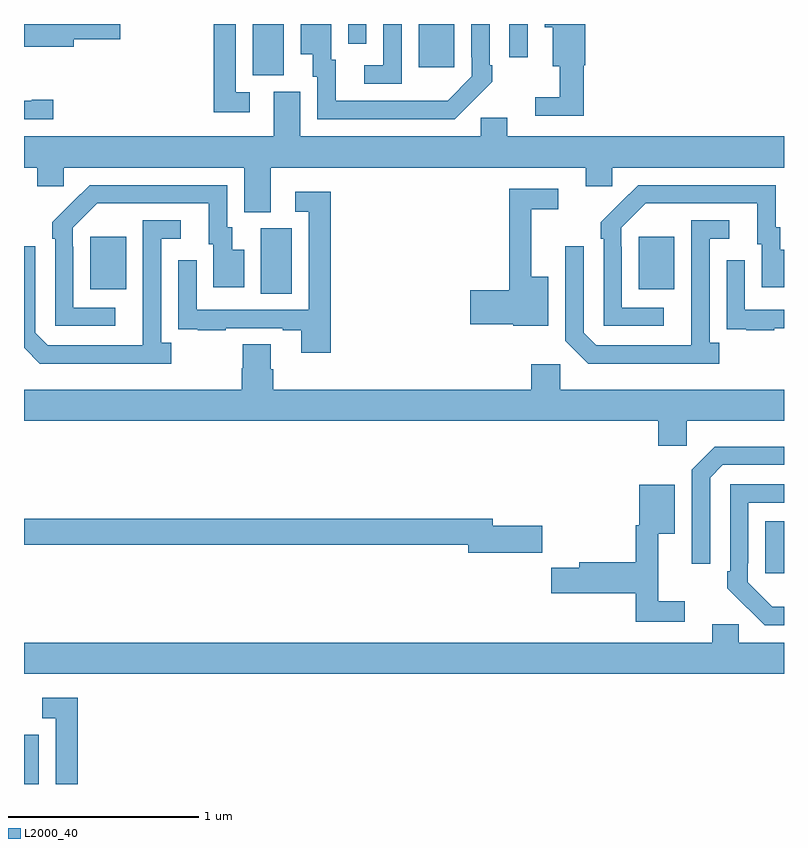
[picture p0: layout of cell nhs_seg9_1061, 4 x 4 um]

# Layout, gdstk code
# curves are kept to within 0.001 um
import gdstk
lib = gdstk.Library(unit=1e-6, precision=1e-09)
def R(c, l, rs):  # rectangles x0, y0, x1, y1
    for r in rs: c.add(gdstk.rectangle(r[:2], r[2:], *l))
def P(c, l, *ps):  # polygons
    for p in ps: c.add(gdstk.Polygon(p, *l))
L2000_40 = (2000, 40)

nhs_seg9_1061 = lib.new_cell('nhs_seg9_1061')
R(nhs_seg9_1061, L2000_40, [(169,1202.5,169.078,1202.76), (172.901,1203.609,173,1203.883), (170.246,1205.08,170.41,1205.424), (169.349,1205.105,169.537,1205.38), (172.235,1205.105,172.423,1205.38), (170.204,1206.229,170.368,1206.5), (171.077,1206.273,171.265,1206.5), (171.555,1206.324,171.651,1206.5), (170.706,1206.396,170.802,1206.5)])
P(nhs_seg9_1061, L2000_40, [(170.188,1206.141),(170.115,1206.141),(170.115,1206.5),(169.999,1206.5),(169.999,1206.036),(170.188,1206.036)],
  [(171.947,1206.282),(171.953,1206.282),(171.953,1206.5),(171.74,1206.5),(171.74,1206.482),(171.782,1206.482),(171.782,1206.278),(171.819,1206.278),(171.819,1206.115),(171.69,1206.115),(171.69,1206.018),(171.947,1206.018)],
  [(169.261,1206.419),(169.507,1206.419),(169.507,1206.5),(169,1206.5),(169,1206.38),(169.261,1206.38)],
  [(171.359,1206.091),(171.36,1206.09),(171.465,1206.195),(171.465,1206.283),(171.45,1206.283),(171.45,1206.5),(171.354,1206.5),(171.354,1206.325),(171.357,1206.325),(171.357,1206.225),(171.229,1206.097),(171.125,1206.096),(170.641,1206.096),(170.641,1206.312),(170.617,1206.312),(170.617,1206.5),(170.456,1206.5),(170.456,1206.341),(170.519,1206.341),(170.519,1206.222),(170.544,1206.222),(170.544,1206),(171.268,1206)],
  [(170.988,1206.5),(170.892,1206.5),(170.892,1206.282),(170.79,1206.282),(170.79,1206.186),(170.988,1206.186)],
  [(169,1205.744),(169.07,1205.744),(169.07,1205.646),(169.209,1205.646),(169.209,1205.744),(170.159,1205.744),(170.159,1205.509),(170.299,1205.509),(170.299,1205.744),(171.956,1205.744),(171.956,1205.646),(172.095,1205.646),(172.095,1205.744),(173,1205.744),(173,1205.908),(171.544,1205.908),(171.544,1206.006),(171.405,1206.006),(171.405,1205.908),(170.455,1205.908),(170.455,1206.144),(170.315,1206.144),(170.315,1205.908),(169,1205.908)],
  [(169.153,1206.101),(169.04,1206.101),(169.04,1206.096),(169,1206.096),(169,1206),(169.153,1206)],
  [(169.48,1205.007),(169.26,1205.007),(169.26,1205.327),(169.257,1205.327),(169.257,1205.427),(169.386,1205.556),(169.973,1205.556),(169.973,1205.34),(169.997,1205.34),(169.997,1205.115),(170.158,1205.115),(170.158,1205.311),(170.095,1205.311),(170.095,1205.43),(170.07,1205.43),(170.07,1205.652),(169.346,1205.652),(169.149,1205.457),(169.149,1205.369),(169.164,1205.369),(169.164,1204.911),(169.48,1204.911)],
  [(172.366,1205.007),(172.146,1205.007),(172.146,1205.327),(172.143,1205.327),(172.143,1205.427),(172.272,1205.556),(172.859,1205.556),(172.859,1205.34),(172.883,1205.34),(172.883,1205.115),(173,1205.115),(173,1205.311),(172.981,1205.311),(172.981,1205.43),(172.956,1205.43),(172.956,1205.652),(172.232,1205.652),(172.035,1205.457),(172.035,1205.369),(172.05,1205.369),(172.05,1204.911),(172.366,1204.911)],
  [(171.76,1205.17),(171.671,1205.17),(171.671,1205.526),(171.811,1205.526),(171.811,1205.634),(171.553,1205.634),(171.553,1205.099),(171.348,1205.099),(171.348,1204.921),(171.576,1204.921),(171.576,1204.913),(171.76,1204.913)],
  [(170.615,1205.617),(170.427,1205.617),(170.427,1205.511),(170.499,1205.511),(170.499,1204.995),(169.908,1204.995),(169.908,1205.257),(169.812,1205.257),(169.812,1205.002),(169.813,1205.002),(169.813,1204.893),(169.915,1204.893),(169.915,1204.887),(170.063,1204.887),(170.063,1204.899),(170.363,1204.899),(170.363,1204.887),(170.459,1204.887),(170.459,1204.77),(170.615,1204.77)],
  [(169.774,1204.822),(169.722,1204.822),(169.722,1205.37),(169.825,1205.37),(169.825,1205.466),(169.626,1205.466),(169.625,1204.809),(169.125,1204.809),(169.059,1204.875),(169.059,1205.329),(169,1205.329),(169,1204.796),(169.084,1204.712),(169.774,1204.712)],
  [(172.66,1204.822),(172.608,1204.822),(172.608,1205.37),(172.711,1205.37),(172.711,1205.466),(172.512,1205.466),(172.511,1204.809),(172.011,1204.809),(171.945,1204.875),(171.945,1205.329),(171.849,1205.329),(171.849,1204.833),(171.97,1204.712),(172.66,1204.712)],
  [(172.949,1204.899),(173,1204.899),(173,1204.995),(172.794,1204.995),(172.794,1205.257),(172.698,1205.257),(172.698,1205.002),(172.699,1205.002),(172.699,1204.893),(172.801,1204.893),(172.801,1204.887),(172.949,1204.887)],
  [(172.488,1204.412),(173,1204.412),(173,1204.576),(171.822,1204.576),(171.822,1204.708),(171.671,1204.708),(171.671,1204.576),(170.312,1204.576),(170.312,1204.682),(170.299,1204.682),(170.299,1204.814),(170.152,1204.814),(170.152,1204.689),(170.147,1204.689),(170.147,1204.576),(169,1204.576),(169,1204.412),(172.337,1204.412),(172.337,1204.281),(172.488,1204.281)],
  [(172.611,1204.113),(172.677,1204.179),(173,1204.179),(173,1204.276),(172.636,1204.276),(172.515,1204.155),(172.515,1203.66),(172.611,1203.66)],
  [(173,1203.433),(172.938,1203.433),(172.809,1203.561),(172.809,1203.661),(172.812,1203.661),(172.812,1203.981),(173,1203.981),(173,1204.077),(172.716,1204.077),(172.716,1203.619),(172.701,1203.619),(172.701,1203.531),(172.898,1203.336),(173,1203.336)],
  [(172.477,1203.463),(172.337,1203.463),(172.337,1203.818),(172.426,1203.818),(172.426,1204.075),(172.238,1204.075),(172.238,1203.861),(172.219,1203.861),(172.219,1203.668),(171.923,1203.668),(171.923,1203.638),(171.774,1203.638),(171.774,1203.503),(172.219,1203.503),(172.219,1203.354),(172.477,1203.354)],
  [(171.727,1203.86),(171.466,1203.86),(171.466,1203.896),(169,1203.896),(169,1203.76),(171.338,1203.76),(171.338,1203.718),(171.727,1203.718)],
  [(173,1203.244),(172.761,1203.244),(172.761,1203.342),(172.622,1203.342),(172.622,1203.244),(169,1203.244),(169,1203.08),(173,1203.08)],
  [(169.283,1202.953),(169.095,1202.953),(169.095,1202.847),(169.167,1202.847),(169.167,1202.5),(169.283,1202.5)])

lib.write_gds('nhs_seg9_1061.gds')
